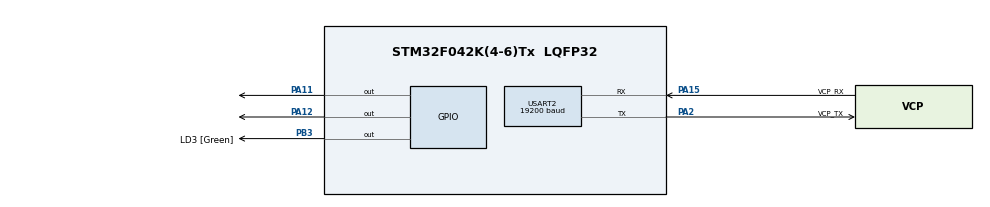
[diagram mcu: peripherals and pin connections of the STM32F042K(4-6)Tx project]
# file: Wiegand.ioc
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Mcu.Family=STM32F0
Mcu.Name=STM32F042K(4-6)Tx
Mcu.Package=LQFP32
NVIC.TIM1_BRK_UP_TRG_COM_IRQn=true\:0\:0\:false\:false\:true\:true\:true
NVIC.TIM1_CC_IRQn=true\:0\:0\:false\:false\:true\:true\:true
PA11.GPIO_ModeDefaultOutputPP=GPIO_MODE_OUTPUT_OD
PA11.Signal=GPIO_Output
PA12.GPIO_ModeDefaultOutputPP=GPIO_MODE_OUTPUT_OD
PA12.Signal=GPIO_Output
PA13.GPIO_Label=SWDIO
PA13.Mode=Serial_Wire
PA13.Signal=SYS_SWDIO
PA14.GPIO_Label=SWCLK
PA14.Mode=Serial_Wire
PA14.Signal=SYS_SWCLK
PA15.GPIO_Label=VCP_RX
PA15.Mode=Asynchronous
PA15.Signal=USART2_RX
PA2.GPIO_Label=VCP_TX
PA2.Mode=Asynchronous
PA2.Signal=USART2_TX
PB3.GPIO_Label=LD3 [Green]
PB3.Signal=GPIO_Output
ProjectManager.HeapSize=0x0
ProjectManager.StackSize=0x400
ProjectManager.TargetToolchain=SW4STM32
TIM1.AutoReloadPreload=TIM_AUTORELOAD_PRELOAD_ENABLE
TIM1.Period=40000
USART2.BaudRate=19200
USART2.VirtualMode-Asynchronous=VM_ASYNC
VP_TIM1_VS_ClockSourceINT.Mode=Internal
board=NUCLEO-F042K6

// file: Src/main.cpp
/* USER CODE BEGIN Header */
/**
  ******************************************************************************
  * @file           : main.c
  * @brief          : Main program body
  ******************************************************************************
  * @attention
  *
  * <h2><center>&copy; Copyright (c) 2019 STMicroelectronics.
  * All rights reserved.</center></h2>
  *
  * This software component is licensed by ST under BSD 3-Clause license,
  * the "License"; You may not use this file except in compliance with the
  * License. You may obtain a copy of the License at:
  *                        opensource.org/licenses/BSD-3-Clause
  *
  ******************************************************************************
  */
/* USER CODE END Header */

#include "main.h"

/* USER CODE BEGIN Includes */

#include "wiegand.h"

/* USER CODE END Includes */

void SystemClock_Config(void);
static void MX_GPIO_Init(void);
static void MX_USART2_UART_Init(void);
static void MX_TIM1_Init(void);

int main(void)
{

  /* MCU Configuration--------------------------------------------------------*/

  /* Reset of all peripherals, Initializes the Flash interface and the Systick. */

  LL_APB1_GRP2_EnableClock(LL_APB1_GRP2_PERIPH_SYSCFG);
  LL_APB1_GRP1_EnableClock(LL_APB1_GRP1_PERIPH_PWR);

  /* System interrupt init*/

  /* Configure the system clock */
  SystemClock_Config();

  /* Initialize all configured peripherals */
  MX_GPIO_Init();
  MX_USART2_UART_Init();
  MX_TIM1_Init();

  /* Infinite loop */
  /* USER CODE BEGIN WHILE */

  uint8_t x = 0;
  uint32_t n = 0;

  while (1)
  {
	LL_GPIO_TogglePin(LD3_GPIO_Port, LD3_Pin);
	LL_mDelay(200);

	if (++x==5) {
		x=0;
		if (n<24)
			wiegand.SetCode(1<<n);
		LL_USART_TransmitData8(USART2, 'A'+n);
		if (n<30)
			n++;
		else
			n=0;
	}

	/* USER CODE END WHILE */

  }
}

void SystemClock_Config(void)
{
  LL_FLASH_SetLatency(LL_FLASH_LATENCY_0);

  if(LL_FLASH_GetLatency() != LL_FLASH_LATENCY_0)
  {
  Error_Handler();
  }
  LL_RCC_HSI_Enable();

   /* Wait till HSI is ready */
  while(LL_RCC_HSI_IsReady() != 1)
  {

  }
  LL_RCC_HSI_SetCalibTrimming(16);
  LL_RCC_SetAHBPrescaler(LL_RCC_SYSCLK_DIV_1);
  LL_RCC_SetAPB1Prescaler(LL_RCC_APB1_DIV_1);
  LL_RCC_SetSysClkSource(LL_RCC_SYS_CLKSOURCE_HSI);

   /* Wait till System clock is ready */
  while(LL_RCC_GetSysClkSource() != LL_RCC_SYS_CLKSOURCE_STATUS_HSI)
  {

  }
  LL_Init1msTick(8000000);
  LL_SYSTICK_SetClkSource(LL_SYSTICK_CLKSOURCE_HCLK);
  LL_SetSystemCoreClock(8000000);
}

static void MX_TIM1_Init(void)
{

  LL_TIM_InitTypeDef TIM_InitStruct = {0};

  /* Peripheral clock enable */
  LL_APB1_GRP2_EnableClock(LL_APB1_GRP2_PERIPH_TIM1);

  /* TIM1 interrupt Init */
  NVIC_SetPriority(TIM1_BRK_UP_TRG_COM_IRQn, 0);
  NVIC_EnableIRQ(TIM1_BRK_UP_TRG_COM_IRQn);
  NVIC_SetPriority(TIM1_CC_IRQn, 0);
  NVIC_EnableIRQ(TIM1_CC_IRQn);

  TIM_InitStruct.Prescaler = 0;
  TIM_InitStruct.CounterMode = LL_TIM_COUNTERMODE_UP;
  TIM_InitStruct.Autoreload = 19200;	// 2.4 ms
  TIM_InitStruct.ClockDivision = LL_TIM_CLOCKDIVISION_DIV1;
  TIM_InitStruct.RepetitionCounter = 0;
  LL_TIM_Init(TIM1, &TIM_InitStruct);
  LL_TIM_EnableARRPreload(TIM1);
  LL_TIM_SetClockSource(TIM1, LL_TIM_CLOCKSOURCE_INTERNAL);
  LL_TIM_SetTriggerOutput(TIM1, LL_TIM_TRGO_RESET);
  LL_TIM_DisableMasterSlaveMode(TIM1);
  /* USER CODE BEGIN TIM1_Init 2 */

  LL_TIM_EnableIT_UPDATE(TIM1);
  LL_TIM_OC_SetCompareCH1(TIM1, 405*8);	// 0.4 ms
  LL_TIM_EnableIT_CC1(TIM1);
  LL_TIM_EnableCounter(TIM1);

  /* USER CODE END TIM1_Init 2 */

}

static void MX_USART2_UART_Init(void)
{

  LL_USART_InitTypeDef USART_InitStruct = {0};

  LL_GPIO_InitTypeDef GPIO_InitStruct = {0};

  /* Peripheral clock enable */
  LL_APB1_GRP1_EnableClock(LL_APB1_GRP1_PERIPH_USART2);

  LL_AHB1_GRP1_EnableClock(LL_AHB1_GRP1_PERIPH_GPIOA);
  /**USART2 GPIO Configuration
  PA2   ------> USART2_TX
  PA15   ------> USART2_RX
  */
  GPIO_InitStruct.Pin = VCP_TX_Pin;
  GPIO_InitStruct.Mode = LL_GPIO_MODE_ALTERNATE;
  GPIO_InitStruct.Speed = LL_GPIO_SPEED_FREQ_HIGH;
  GPIO_InitStruct.OutputType = LL_GPIO_OUTPUT_PUSHPULL;
  GPIO_InitStruct.Pull = LL_GPIO_PULL_NO;
  GPIO_InitStruct.Alternate = LL_GPIO_AF_1;
  LL_GPIO_Init(VCP_TX_GPIO_Port, &GPIO_InitStruct);

  GPIO_InitStruct.Pin = VCP_RX_Pin;
  GPIO_InitStruct.Mode = LL_GPIO_MODE_ALTERNATE;
  GPIO_InitStruct.Speed = LL_GPIO_SPEED_FREQ_HIGH;
  GPIO_InitStruct.OutputType = LL_GPIO_OUTPUT_PUSHPULL;
  GPIO_InitStruct.Pull = LL_GPIO_PULL_NO;
  GPIO_InitStruct.Alternate = LL_GPIO_AF_1;
  LL_GPIO_Init(VCP_RX_GPIO_Port, &GPIO_InitStruct);

  USART_InitStruct.BaudRate = 19200;
  USART_InitStruct.DataWidth = LL_USART_DATAWIDTH_8B;
  USART_InitStruct.StopBits = LL_USART_STOPBITS_1;
  USART_InitStruct.Parity = LL_USART_PARITY_NONE;
  USART_InitStruct.TransferDirection = LL_USART_DIRECTION_TX_RX;
  USART_InitStruct.HardwareFlowControl = LL_USART_HWCONTROL_NONE;
  USART_InitStruct.OverSampling = LL_USART_OVERSAMPLING_16;
  LL_USART_Init(USART2, &USART_InitStruct);
  LL_USART_DisableIT_CTS(USART2);
  LL_USART_DisableOverrunDetect(USART2);
  LL_USART_ConfigAsyncMode(USART2);
  LL_USART_Enable(USART2);

}

static void MX_GPIO_Init(void)
{
  LL_GPIO_InitTypeDef GPIO_InitStruct = {0};

  /* GPIO Ports Clock Enable */
  LL_AHB1_GRP1_EnableClock(LL_AHB1_GRP1_PERIPH_GPIOA);
  LL_AHB1_GRP1_EnableClock(LL_AHB1_GRP1_PERIPH_GPIOB);

  /**/
  LL_GPIO_ResetOutputPin(GPIOA, LL_GPIO_PIN_11);

  /**/
  LL_GPIO_ResetOutputPin(GPIOA, LL_GPIO_PIN_12);

  /**/
  LL_GPIO_ResetOutputPin(LD3_GPIO_Port, LD3_Pin);

  /**/
  GPIO_InitStruct.Pin = LL_GPIO_PIN_11;
  GPIO_InitStruct.Mode = LL_GPIO_MODE_OUTPUT;
  GPIO_InitStruct.Speed = LL_GPIO_SPEED_FREQ_LOW;
  GPIO_InitStruct.OutputType = LL_GPIO_OUTPUT_OPENDRAIN;
  //GPIO_InitStruct.OutputType = LL_GPIO_OUTPUT_PUSHPULL;
  GPIO_InitStruct.Pull = LL_GPIO_PULL_NO;
  LL_GPIO_Init(GPIOA, &GPIO_InitStruct);

  /**/
  GPIO_InitStruct.Pin = LL_GPIO_PIN_12;
  GPIO_InitStruct.Mode = LL_GPIO_MODE_OUTPUT;
  GPIO_InitStruct.Speed = LL_GPIO_SPEED_FREQ_LOW;
  GPIO_InitStruct.OutputType = LL_GPIO_OUTPUT_OPENDRAIN;
  //GPIO_InitStruct.OutputType = LL_GPIO_OUTPUT_PUSHPULL;
  GPIO_InitStruct.Pull = LL_GPIO_PULL_NO;
  LL_GPIO_Init(GPIOA, &GPIO_InitStruct);

  /**/
  GPIO_InitStruct.Pin = LD3_Pin;
  GPIO_InitStruct.Mode = LL_GPIO_MODE_OUTPUT;
  GPIO_InitStruct.Speed = LL_GPIO_SPEED_FREQ_LOW;
  GPIO_InitStruct.OutputType = LL_GPIO_OUTPUT_PUSHPULL;
  GPIO_InitStruct.Pull = LL_GPIO_PULL_NO;
  LL_GPIO_Init(LD3_GPIO_Port, &GPIO_InitStruct);

}

void Error_Handler(void)
{
}

/************************ (C) COPYRIGHT STMicroelectronics *****END OF FILE****/
